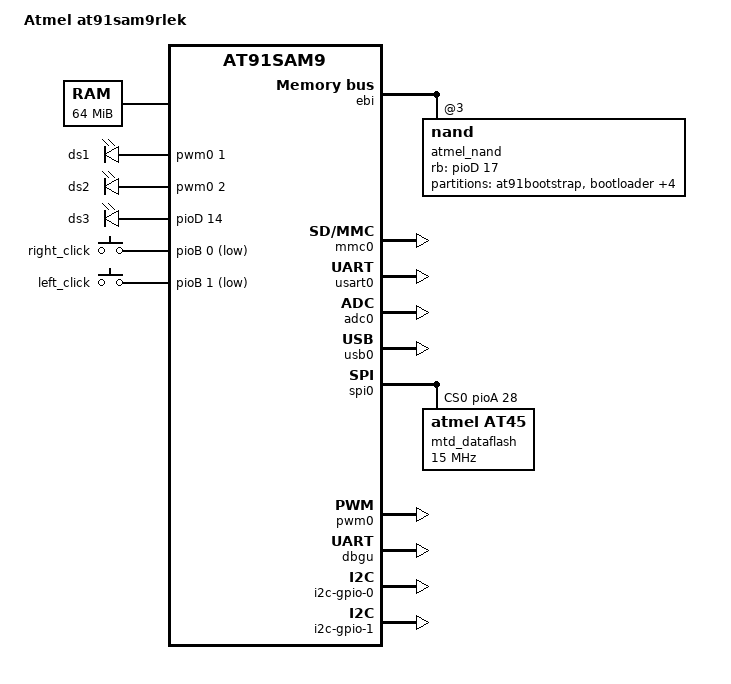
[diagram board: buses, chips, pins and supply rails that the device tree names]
// SPDX-License-Identifier: GPL-2.0-only
/*
 * at91sam9rlek.dts - Device Tree file for Atmel at91sam9rl reference board
 *
 *  Copyright (C) 2014 Microchip
 *  Alexandre Belloni <alexandre.belloni@free-electrons.com>
 */
/dts-v1/;
#include "at91sam9rl.dtsi"

/ {
	model = "Atmel at91sam9rlek";
	compatible = "atmel,at91sam9rlek", "atmel,at91sam9rl", "atmel,at91sam9";

	chosen {
		bootargs = "rootfstype=ubifs root=ubi0:rootfs ubi.mtd=5 rw";
		stdout-path = "serial0:115200n8";
	};

	memory@20000000 {
		reg = <0x20000000 0x4000000>;
	};

	clocks {
		slow_xtal {
			clock-frequency = <32768>;
		};

		main_xtal {
			clock-frequency = <12000000>;
		};
	};

	ahb {
		fb0: fb@500000 {
			display = <&display0>;
			status = "okay";

			display0: panel {
				bits-per-pixel = <16>;
				atmel,lcdcon-backlight;
				atmel,dmacon = <0x1>;
				atmel,lcdcon2 = <0x80008002>;
				atmel,guard-time = <1>;
				atmel,lcd-wiring-mode = "RGB";

				display-timings {
					native-mode = <&timing0>;
					timing0: timing0 {
						clock-frequency = <4965000>;
						hactive = <240>;
						vactive = <320>;
						hback-porch = <1>;
						hfront-porch = <33>;
						vback-porch = <1>;
						vfront-porch = <0>;
						hsync-len = <5>;
						vsync-len = <1>;
						hsync-active = <1>;
						vsync-active = <1>;
					};
				};
			};
		};

		ebi: ebi@10000000 {
			pinctrl-0 = <&pinctrl_ebi_addr_nand>;
			pinctrl-names = "default";
			status = "okay";

			nand_controller: nand-controller {
				status = "okay";
				pinctrl-0 = <&pinctrl_nand_oe_we
					     &pinctrl_nand_cs
					     &pinctrl_nand_rb>;
				pinctrl-names = "default";

				nand@3 {
					reg = <0x3 0x0 0x800000>;
					rb-gpios = <&pioD 17 GPIO_ACTIVE_HIGH>;
					cs-gpios = <&pioB 6 GPIO_ACTIVE_HIGH>;
					nand-bus-width = <8>;
					nand-ecc-mode = "soft";
					nand-on-flash-bbt;
					label = "atmel_nand";

					partitions {
						compatible = "fixed-partitions";
						#address-cells = <1>;
						#size-cells = <1>;

						at91bootstrap@0 {
							label = "at91bootstrap";
							reg = <0x0 0x40000>;
						};

						bootloader@40000 {
							label = "bootloader";
							reg = <0x40000 0x80000>;
						};

						bootloaderenv@c0000 {
							label = "bootloader env";
							reg = <0xc0000 0xc0000>;
						};

						dtb@180000 {
							label = "device tree";
							reg = <0x180000 0x80000>;
						};

						kernel@200000 {
							label = "kernel";
							reg = <0x200000 0x600000>;
						};

						rootfs@800000 {
							label = "rootfs";
							reg = <0x800000 0x0f800000>;
						};
					};
				};
			};
		};

		apb {
			tcb0: timer@fffa0000 {
				timer@0 {
					compatible = "atmel,tcb-timer";
					reg = <0>, <1>;
				};

				timer@2 {
					compatible = "atmel,tcb-timer";
					reg = <2>;
				};
			};

			mmc0: mmc@fffa4000 {
				pinctrl-0 = <
					&pinctrl_board_mmc0
					&pinctrl_mmc0_clk
					&pinctrl_mmc0_slot0_cmd_dat0
					&pinctrl_mmc0_slot0_dat1_3>;
				status = "okay";
				slot@0 {
					reg = <0>;
					bus-width = <4>;
					cd-gpios = <&pioA 15 GPIO_ACTIVE_HIGH>;
				};
			};

			usart0: serial@fffb0000 {
				pinctrl-0 = <
					&pinctrl_usart0
					&pinctrl_usart0_rts
					&pinctrl_usart0_cts>;
				status = "okay";
			};

			adc0: adc@fffd0000 {
				pinctrl-names = "default";
				pinctrl-0 = <
					&pinctrl_adc0_ad0
					&pinctrl_adc0_ad1
					&pinctrl_adc0_ad2
					&pinctrl_adc0_ad3
					&pinctrl_adc0_ad4
					&pinctrl_adc0_ad5
					&pinctrl_adc0_adtrg>;
				atmel,adc-ts-wires = <4>;
				status = "okay";
			};

			usb0: gadget@fffd4000 {
				atmel,vbus-gpio = <&pioA 8 GPIO_ACTIVE_HIGH>;
				status = "okay";
			};

			spi0: spi@fffcc000 {
				status = "okay";
				cs-gpios = <&pioA 28 0>, <0>, <0>, <0>;
				mtd_dataflash@0 {
					compatible = "atmel,at45", "atmel,dataflash";
					spi-max-frequency = <15000000>;
					reg = <0>;
				};
			};

			pwm0: pwm@fffc8000 {
				status = "okay";

				pinctrl-names = "default";
				pinctrl-0 = <&pinctrl_pwm0_pwm1_2>,
					<&pinctrl_pwm0_pwm2_2>;
			};

			dbgu: serial@fffff200 {
				status = "okay";
			};

			pinctrl@fffff400 {
				mmc0 {
					pinctrl_board_mmc0: mmc0-board {
						atmel,pins =
							<AT91_PIOA 15 AT91_PERIPH_GPIO AT91_PINCTRL_PULL_UP_DEGLITCH>;
					};
				};
			};

			watchdog@fffffd40 {
				status = "okay";
			};

			rtc@fffffe00 {
				status = "okay";
			};
		};
	};

	led-controller-1 {
		compatible = "pwm-leds";

		led-1 {
			label = "ds1";
			pwms = <&pwm0 1 5000 PWM_POLARITY_INVERTED>;
			max-brightness = <255>;
		};

		led-2 {
			label = "ds2";
			pwms = <&pwm0 2 5000 PWM_POLARITY_INVERTED>;
			max-brightness = <255>;
		};
	};

	led-controller-2 {
		compatible = "gpio-leds";

		led-3 {
			label = "ds3";
			gpios = <&pioD 14 GPIO_ACTIVE_HIGH>;
			linux,default-trigger = "heartbeat";
		};
	};

	gpio_keys {
		compatible = "gpio-keys";

		right_click {
			label = "right_click";
			gpios = <&pioB 0 GPIO_ACTIVE_LOW>;
			linux,code = <273>;
			wakeup-source;
		};

		left_click {
			label = "left_click";
			gpios = <&pioB 1 GPIO_ACTIVE_LOW>;
			linux,code = <272>;
			wakeup-source;
		};
	};

	i2c-gpio-0 {
		status = "okay";
	};

	i2c-gpio-1 {
		status = "okay";
	};
};
